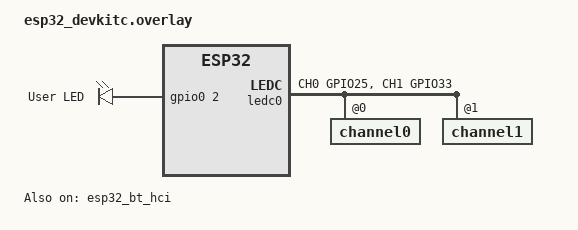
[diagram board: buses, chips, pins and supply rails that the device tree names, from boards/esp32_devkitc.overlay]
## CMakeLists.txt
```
# CMakeLists.txt
cmake_minimum_required(VERSION 3.20.0)

# Set device tree overlay file for LED0 (must happen before find_package)
set(DTC_OVERLAY_FILE ${CMAKE_SOURCE_DIR}/boards/esp32_devkitc.overlay)

# This locates Zephyr and sets up all include paths/flags/toolchain
find_package(Zephyr REQUIRED HINTS $ENV{ZEPHYR_BASE})

project(maya_firmware)

# Add your sources
target_sources(app PRIVATE src/main.c)
```

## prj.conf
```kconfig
# Bluetooth core
CONFIG_BT=y
CONFIG_BT_PERIPHERAL=y
CONFIG_BT_DEVICE_NAME="JoeTESTING123"   # shows up in scanner apps

# Match controller capacity & avoid ENOMEM during connects
CONFIG_BT_CONN_TX_MAX=10
CONFIG_BT_BUF_ACL_TX_COUNT=10
CONFIG_BT_BUF_EVT_DISCARDABLE_COUNT=10

#  Event buffers: MUST be strictly greater than ACL TX count
CONFIG_BT_BUF_EVT_RX_COUNT=12
CONFIG_BT_L2CAP_TX_BUF_COUNT=10

# Nice-to-haves (safe defaults)
CONFIG_BT_MAX_CONN=1
CONFIG_BT_PRIVACY=n                   # <— disable RPA while testing visibility
CONFIG_BT_SETTINGS=y                  # persist bonds (optional)

# PWM for servo
CONFIG_PWM=y

# Logging (optional but handy)
CONFIG_LOG=y
CONFIG_PRINTK=y
```

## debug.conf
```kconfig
# Runtime instrumentation overlay — memory and CPU monitoring.
#
# Opt-in, so the production build stays lean:
#   west build -b esp32_devkitc/esp32/procpu -- -DEXTRA_CONF_FILE=debug.conf
#
# Gives you an interactive shell over the same UART as the console:
#   kernel thread list      per-thread state, stack usage, CPU %
#   kernel thread stacks    stack high-water marks
#   kernel cycles           total vs idle cycles (whole-system CPU load)
#   kernel heap             system heap free/allocated
#   kernel uptime

# --- Thread bookkeeping (prerequisites for everything below) ---
CONFIG_THREAD_NAME=y
CONFIG_THREAD_MONITOR=y
CONFIG_THREAD_STACK_INFO=y

# Paint stacks at boot so unused depth can be measured by high-water mark.
CONFIG_INIT_STACKS=y

# --- CPU utilisation ---
CONFIG_THREAD_RUNTIME_STATS=y
CONFIG_SCHED_THREAD_USAGE=y
CONFIG_SCHED_THREAD_USAGE_ANALYSIS=y

# --- Heap instrumentation ---
CONFIG_SYS_HEAP_RUNTIME_STATS=y

# --- Interactive shell ---
CONFIG_SHELL=y
CONFIG_SHELL_STACK_SIZE=4096

# --- Thread analyzer ---
# Available for on-demand calls to thread_analyzer_print() from your code.
CONFIG_THREAD_ANALYZER=y
CONFIG_THREAD_ANALYZER_USE_PRINTK=y
CONFIG_THREAD_ANALYZER_ISR_STACK_USAGE=y

# Periodic auto-dump. Off by default because it interleaves with the shell
# prompt; flip AUTO on for headless runs where you cannot type (e.g. watching
# the turret under sustained BLE write load).
CONFIG_THREAD_ANALYZER_AUTO=n
CONFIG_THREAD_ANALYZER_AUTO_INTERVAL=10
CONFIG_THREAD_ANALYZER_AUTO_STACK_SIZE=2048
```

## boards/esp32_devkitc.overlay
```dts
/ {
    leds {
        compatible = "gpio-leds";

        led0: user_led {
            gpios = <&gpio0 2 GPIO_ACTIVE_HIGH>;  /* onboard LED on GPIO2, active-low on many boards */
            label = "User LED";
        };
    };

    aliases {
        led0 = &led0;
    };
};

/* Enable the ESP32 Bluetooth HCI driver */
&esp32_bt_hci {
    status = "okay";
    bt-hci-name = "bt_hci0";
};

&pinctrl {
    /* Map LEDC CH0 to GPIO25 (change if you use a different pin) */
    ledc0_servo_pins: ledc0_servo_pins {
        group1 {
            pinmux = <LEDC_CH0_GPIO25>,
                     <LEDC_CH1_GPIO33>;
            output-enable;
        };
    };
};

&ledc0 {
    status = "okay";
    pinctrl-0 = <&ledc0_servo_pins>;
    pinctrl-names = "default";
    #address-cells = <1>;
    #size-cells = <0>;

    channel0@0 { reg = <0>; timer = <0>; }; /* PAN  */
    channel1@1 { reg = <1>; timer = <0>; }; /* TILT */
};
```

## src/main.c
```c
#include <zephyr/kernel.h>
#include <zephyr/sys/printk.h>
#include <zephyr/bluetooth/bluetooth.h>
#include <zephyr/bluetooth/hci.h>
#include <zephyr/bluetooth/conn.h>
#include <zephyr/bluetooth/gatt.h>
#include <zephyr/drivers/gpio.h>
#include <zephyr/drivers/pwm.h>
#include <errno.h>
#include <string.h>


/* GAP preset (modern) */
#define ADV_PRESET  BT_LE_ADV_CONN_FAST_2

/* LED0 node label from device tree */
#define LED0_NODE DT_ALIAS(led0)
static const struct gpio_dt_spec led = GPIO_DT_SPEC_GET(LED0_NODE, gpios);

/* PWM device: ESP32 LEDC block 0 (matches &ledc0 in overlay) */
#define LEDC0_NODE DT_NODELABEL(ledc0)
static const struct device *pwm_ledc;

/* Channels: match overlay channel regs */
#define CH_PAN   0
#define CH_TILT  1

/* 50 Hz servo timing */
#define SERVO_PERIOD_NS  20000000ULL   /* 20 ms */
#define PULSE_MIN_NS      500000ULL    /* 0.5 ms (adjust to 1.0 ms if your servo expects 1–2 ms) */
#define PULSE_MAX_NS     2500000ULL    /* 2.5 ms */


/* Helpers */
static inline uint32_t deg_to_pulse_ns(uint8_t deg)
{
    uint32_t d = CLAMP(deg, 0, 180);
    uint64_t span = (PULSE_MAX_NS - PULSE_MIN_NS);
    return (uint32_t)(PULSE_MIN_NS + (span * d) / 180);
}
static inline uint8_t slew(uint8_t cur, uint8_t tgt, uint8_t step)
{
    if (cur < tgt) return (tgt - cur > step) ? cur + step : tgt;
    if (cur > tgt) return (cur - tgt > step) ? cur - step : tgt;
    return cur;
}


/* Adv payload: flags only */
static const struct bt_data ad[] = {
    BT_DATA_BYTES(BT_DATA_FLAGS, (BT_LE_AD_GENERAL | BT_LE_AD_NO_BREDR)),
};

/* Put the device name in SCAN RESPONSE, per 4.2 guidance */
static const struct bt_data sd[] = {
    BT_DATA(BT_DATA_NAME_COMPLETE,
            CONFIG_BT_DEVICE_NAME, strlen(CONFIG_BT_DEVICE_NAME)),
};

/* ===== Work item to safely restart advertising ===== */
static void adv_restart_work_handler(struct k_work *work)
{
    int rc = bt_le_adv_start(ADV_PRESET, ad, ARRAY_SIZE(ad), sd, ARRAY_SIZE(sd));
    printk("Adv %s (err %d)\n", rc ? "restart failed" : "restarted", rc);
}
K_WORK_DEFINE(adv_restart_work, adv_restart_work_handler);


/* ===== GATT: combined vector command (pan, tilt) via Write Without Response ===== */
/* 128-bit UUIDs (pick your own later) */
#define BT_UUID_MAYA_SVC   BT_UUID_DECLARE_128(0x12,0x34,0,0,0,0,0,0,0,0,0,0,0,0,0xA2,0x01)
#define BT_UUID_MAYA_VEC   BT_UUID_DECLARE_128(0x12,0x34,0,0,0,0,0,0,0,0,0,0,0,0,0xA2,0x02)

/* Targets updated by BLE writes; control loop slews toward them */
static atomic_t pan_target  = ATOMIC_INIT(90);
static atomic_t tilt_target = ATOMIC_INIT(90);

/* Expect exactly 2 bytes: [pan_deg, tilt_deg] (0–180) */
static ssize_t vec_write_wnr(struct bt_conn *conn, const struct bt_gatt_attr *attr,
                             const void *buf, uint16_t len, uint16_t offset, uint8_t flags)
{
    if (offset != 0 || len != 2) {
        return BT_GATT_ERR(BT_ATT_ERR_INVALID_ATTRIBUTE_LEN);
    }
    const uint8_t *p = buf;
    atomic_set(&pan_target,  CLAMP(p[0], 0, 180));
    atomic_set(&tilt_target, CLAMP(p[1], 0, 180));
    return len;
}

BT_GATT_SERVICE_DEFINE(maya_svc,
    BT_GATT_PRIMARY_SERVICE(BT_UUID_MAYA_SVC),
    BT_GATT_CHARACTERISTIC(BT_UUID_MAYA_VEC,
        BT_GATT_CHRC_WRITE_WITHOUT_RESP,
        BT_GATT_PERM_WRITE,
        NULL, vec_write_wnr, NULL),
);


static void connected(struct bt_conn *conn, uint8_t err)
{
    if (err) {
        printk("Connect failed (%u)\n", err);
        return;
    }
    printk("Connected\n");

    /* Turn LED on */
    gpio_pin_set_dt(&led, 1);

    const struct bt_le_conn_param param = {
        .interval_min = 6,   /* 7.5 ms */
        .interval_max = 12,  /* 15  ms */
        .latency      = 0,
        .timeout      = 400, /* 4.0 s */
    };
    bt_conn_le_param_update(conn, &param);
}

static void disconnected(struct bt_conn *conn, uint8_t reason)
{
    printk("Disconnected (0x%02x). Queuing adv restart...\n", reason);

    /* Turn LED off */
    gpio_pin_set_dt(&led, 0);

    /* Don’t call bt_le_adv_start() directly here; defer it a bit */
    k_work_submit(&adv_restart_work);              /* immediate */
}

BT_CONN_CB_DEFINE(conn_cbs) = {
    .connected = connected,
    .disconnected = disconnected,
};

int main(void)
{
    int ret = gpio_pin_configure_dt(&led, GPIO_OUTPUT_ACTIVE);
    if (ret < 0) {
        printk("Error configuring LED pin!\n");
        return ret;
    }

    /* PWM (LEDC) init */
    pwm_ledc = DEVICE_DT_GET(LEDC0_NODE);
    if (!device_is_ready(pwm_ledc)) {
        printk("LEDC not ready\n");
        return -ENODEV;
    }
    /* Center both servos initially */
    pwm_set(pwm_ledc, CH_PAN,  SERVO_PERIOD_NS, deg_to_pulse_ns(90), 0);
    pwm_set(pwm_ledc, CH_TILT, SERVO_PERIOD_NS, deg_to_pulse_ns(90), 0);

    int err = bt_enable(NULL);
    if (err) {
        printk("Bluetooth init failed (err %d)\n", err);
        return err;
    }
    printk("Bluetooth initialized\n");

    /* Use GAP preset: FAST_1 (faster, meant for user-initiated ble advertising) or FAST_2 (still fast) */
    err = bt_le_adv_start(ADV_PRESET, ad, ARRAY_SIZE(ad), sd, ARRAY_SIZE(sd));
    printk("%s advertising as \"%s\" (err %d)\n",
           err ? "Failed to start" : "Started",
           CONFIG_BT_DEVICE_NAME, err);

    /* Turn LED off */
    gpio_pin_set_dt(&led, 0);

    /* Slew loop.
     *
     * Measured on hardware: pwm_set() on the Zephyr ESP32 LEDC driver blocks
     * for almost exactly 2 x the PWM period and spins the CPU while it does.
     * At our 20 ms servo period that is ~40 ms per call, and it costs the same
     * whether or not the duty actually changed (same-duty rewrite: 37.4 ms,
     * changed duty: 37.4 ms).
     *
     * Two consequences:
     *   - Never re-send an unchanged angle. The LEDC block keeps generating
     *     the waveform on its own, so a rewrite buys nothing and costs 40 ms.
     *     Skipping them takes the idle CPU from 82% to 4%.
     *   - The k_sleep below is NOT what paces this loop while moving. One
     *     moving channel costs ~40 ms per iteration, two cost ~80 ms, so the
     *     real slew rate is roughly 3 deg per 40-80 ms (~35-75 deg/s), not
     *     the 3 deg per 5 ms the sleep implies.
     */
    uint8_t pan_cur = 90, tilt_cur = 90;
    uint8_t pan_applied = pan_cur, tilt_applied = tilt_cur;
    while (1) {
        uint8_t pan_tgt  = (uint8_t)atomic_get(&pan_target);
        uint8_t tilt_tgt = (uint8_t)atomic_get(&tilt_target);

        pan_cur  = slew(pan_cur,  pan_tgt,  3);  /* ≤3° per iteration */
        tilt_cur = slew(tilt_cur, tilt_tgt, 3);

        if (pan_cur != pan_applied) {
            pwm_set(pwm_ledc, CH_PAN, SERVO_PERIOD_NS, deg_to_pulse_ns(pan_cur), 0);
            pan_applied = pan_cur;
        }
        if (tilt_cur != tilt_applied) {
            pwm_set(pwm_ledc, CH_TILT, SERVO_PERIOD_NS, deg_to_pulse_ns(tilt_cur), 0);
            tilt_applied = tilt_cur;
        }

        k_sleep(K_MSEC(5));
    }
}
```
